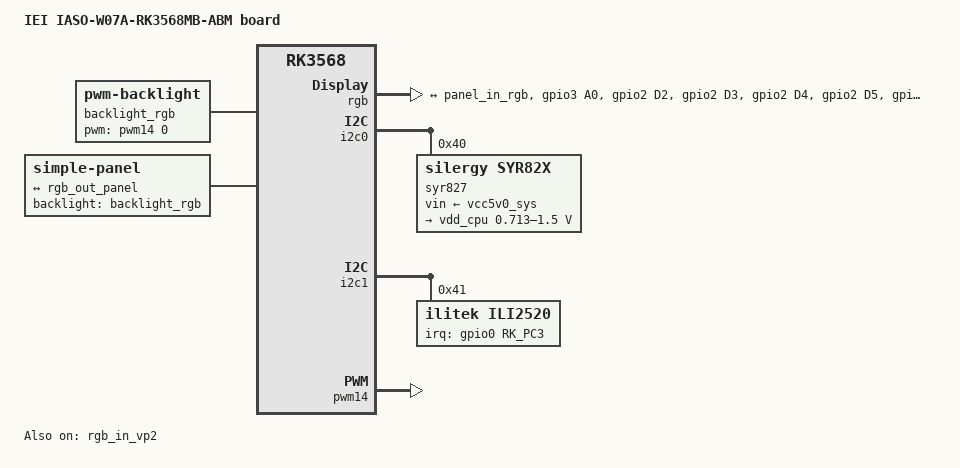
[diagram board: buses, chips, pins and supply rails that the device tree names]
// SPDX-License-Identifier: (GPL-2.0+ OR MIT)
/*
 * Copyright 2024 IEI Integration Corp.
 *
 * Author: CM Wang <cmwang@ieiworld.com>
 *         Wig Cheng <wigcheng@ieiworld.com>
 *         Jason Yang <jasonyang@ieiworld.com>
 *
 * The code contained herein is licensed under the GNU General Public
 * License. You may obtain a copy of the GNU General Public License
 * Version 2 at the following locations:
 *
 * http://www.opensource.org/licenses/gpl-license.html
 * http://www.gnu.org/copyleft/gpl.html
 */

#include "rk3568-evb1-ddr4-v10.dtsi"
#include "rk3568-linux.dtsi"
#include <dt-bindings/display/rockchip_vop.h>
#include <dt-bindings/display/media-bus-format.h>

/ {
	model = "IEI IASO-W07A-RK3568MB-ABM board";
	compatible = "iei,iaso-w07a-rk3568mb-abm", "rockchip,rk3568";

	backlight_rgb: backlight_rgb {
		compatible = "pwm-backlight";
		pwms = <&pwm14 0 20000 0>;
		brightness-levels = <
			0  20  20  21  21  22  22  23
			23  24  24  25  25  26  26  27
			27  28  28  29  29  30  30  31
			31  32  32  33  33  34  34  35
			35  36  36  37  37  38  38  39
			40  41  42  43  44  45  46  47
			48  49  50  51  52  53  54  55
			56  57  58  59  60  61  62  63
			64  65  66  67  68  69  70  71
			72  73  74  75  76  77  78  79
			80  81  82  83  84  85  86  87
			88  89  90  91  92  93  94  95
			96  97  98  99 100 101 102 103
			104 105 106 107 108 109 110 111
			112 113 114 115 116 117 118 119
			120 121 122 123 124 125 126 127
			128 129 130 131 132 133 134 135
			136 137 138 139 140 141 142 143
			144 145 146 147 148 149 150 151
			152 153 154 155 156 157 158 159
			160 161 162 163 164 165 166 167
			168 169 170 171 172 173 174 175
			176 177 178 179 180 181 182 183
			184 185 186 187 188 189 190 191
			192 193 194 195 196 197 198 199
			200 201 202 203 204 205 206 207
			208 209 210 211 212 213 214 215
			216 217 218 219 220 221 222 223
			224 225 226 227 228 229 230 231
			232 233 234 235 236 237 238 239
			240 241 242 243 244 245 246 247
			248 249 250 251 252 253 254 255
		>;
		default-brightness-level = <200>;
	};

	panel: panel {
		compatible = "simple-panel";
		bus-format = <MEDIA_BUS_FMT_RGB666_1X18>;
		backlight = <&backlight_rgb>;
		status = "okay";

		display-timings {
			native-mode = <&cog_t700mhwh01b_timing>;

			cog_t700mhwh01b_timing: timing0 {
				clock-frequency = <33200000>;
				hactive = <800>;
				vactive = <480>;
				hback-porch = <46>;
				hfront-porch = <210>;
				vback-porch = <22>;
				vfront-porch = <23>;
				hsync-len = <1>;
				vsync-len = <1>;
				hsync-active = <0>;
				vsync-active = <0>;
				de-active = <1>;
				pixelclk-active = <0>;
			};
		};

		port {
			panel_in_rgb: endpoint {
				remote-endpoint = <&rgb_out_panel>;
			};
		};
	};
};

&dsi0 {
	status = "disabled";
};

&dsi0_in_vp1 {
	status = "disabled";
};

&dsi0_panel {
	status = "disabled";
};

&dsi1_panel {
	status = "disabled";
};

&edp {
	status = "disabled";
};

&edp_phy {
	status = "disabled";
};

&edp_in_vp0 {
	status = "disabled";
};

&edp_in_vp1 {
	status = "disabled";
};

&rgb {
	status = "okay";
	pinctrl-names = "default";
	pinctrl-0 = <&lcdc_ctl_abm_1>;

	ports {
		rgb_out: port@1 {
			reg = <1>;
			#address-cells = <1>;
			#size-cells = <0>;

			rgb_out_panel: endpoint@0 {
				reg = <0>;
				remote-endpoint = <&panel_in_rgb>;
			};
		};
	};
};

&rgb_in_vp2 {
	status = "okay";
};

&rkisp_vir0 {
	status = "disabled";
};

&route_dsi0 {
	status = "disabled";
};

&route_edp {
	status = "disabled";
};

&pmu_io_domains {
        vccio4-supply = <&vcc_1v8>;
        vccio6-supply = <&vcc_1v8>;
};

&vp0 {
	cursor-win-id = <ROCKCHIP_VOP2_CLUSTER0>;
};

&vp1 {
	cursor-win-id = <ROCKCHIP_VOP2_CLUSTER1>;
};

&vcc5v0_host {
	gpio = <&gpio3 RK_PA0 GPIO_ACTIVE_HIGH>;
};

&vcc5v0_otg {
	gpio = <&gpio0 RK_PA6 GPIO_ACTIVE_HIGH>;
};

&wireless_bluetooth {
	status = "disabled";
};

&i2c0 {
	/delete-node/ tcs4525@1c;
	syr827: syr827@40 {
		compatible = "silergy,syr82x";
		reg = <0x40>;
		status = "okay";
		fcs,suspend-voltage-selector = <1>;
		vin-supply = <&vcc5v0_sys>;
		regulators {
			#address-cells = <1>;
			#size-cells = <0>;
			vdd_cpu: regulator@0 {
				reg = <0>;
				regulator-compatible = "syr82x_dcdc1";
				regulator-name = "vdd_cpu";
				pinctrl-names = "default";
				pinctrl-0 = <&vsel_gpio>;
				vsel-gpios = <&gpio0 2 GPIO_ACTIVE_HIGH>;
				regulator-min-microvolt = <712500>;
				regulator-max-microvolt = <1500000>;
				regulator-always-on;
				regulator-boot-on;
				regulator-initial-mode = <0x2>;
				regulator-initial-state = <3>;
				regulator-state-mem {
					regulator-state-mode = <0x2>;
					regulator-state-disabled;
					regulator-state-uv = <900000>;
				};
			};
		};
	};
};

&i2c1 {
	/delete-node/ gt1x@14;

	ili2520@41 {
		compatible = "ilitek,ili2520";
		reg = <0x41>;

		interrupt-parent = <&gpio0>;
		interrupts = <RK_PC3 IRQ_TYPE_LEVEL_LOW>;
		touchscreen-inverted-y;
		wakeup-source;
	};
};

&i2c4 {
	status = "disabled";
};

&i2c5 {
	status = "disabled";
};

&mdio0 {
	status = "disabled";
};

&mdio1 {
	status = "disabled";
};

&pinctrl{

	lcdc_abm_1 {
		/omit-if-no-ref/
		lcdc_ctl_abm_1: lcdc-ctl_abm_1 {
			rockchip,pins =
			/* lcdc_clk */
			<3 RK_PA0 1 &pcfg_pull_none>,
			/* lcdc_d2 */
			<2 RK_PD2 1 &pcfg_pull_none>,
			/* lcdc_d3 */
			<2 RK_PD3 1 &pcfg_pull_none>,
			/* lcdc_d4 */
			<2 RK_PD4 1 &pcfg_pull_none>,
			/* lcdc_d5 */
			<2 RK_PD5 1 &pcfg_pull_none>,
			/* lcdc_d6 */
			<2 RK_PD6 1 &pcfg_pull_none>,
			/* lcdc_d7 */
			<2 RK_PD7 1 &pcfg_pull_none>,
			/* lcdc_d10 */
			<3 RK_PA3 1 &pcfg_pull_none>,
			/* lcdc_d11 */
			<3 RK_PA4 1 &pcfg_pull_none>,
			/* lcdc_d12 */
			<3 RK_PA5 1 &pcfg_pull_none>,
			/* lcdc_d13 */
			<3 RK_PA6 1 &pcfg_pull_none>,
			/* lcdc_d14 */
			<3 RK_PA7 1 &pcfg_pull_none>,
			/* lcdc_d15 */
			<3 RK_PB0 1 &pcfg_pull_none>,
			/* lcdc_d18 */
			<3 RK_PB3 1 &pcfg_pull_none>,
			/* lcdc_d19 */
			<3 RK_PB4 1 &pcfg_pull_none>,
			/* lcdc_d20 */
			<3 RK_PB5 1 &pcfg_pull_none>,
			/* lcdc_d21 */
			<3 RK_PB6 1 &pcfg_pull_none>,
			/* lcdc_d22 */
			<3 RK_PB7 1 &pcfg_pull_none>,
			/* lcdc_d23 */
			<3 RK_PC0 1 &pcfg_pull_none>,
			/* lcdc_den */
			<3 RK_PC3 1 &pcfg_pull_none>;
		};
	};

	pmic {
		pmic_int_l: pmic-int-l {
		    rockchip,pins = <0 RK_PA3 RK_FUNC_GPIO &pcfg_pull_up>;
		};
		vsel_gpio: vsel-gpio {
		    rockchip,pins = <0 RK_PA2 RK_FUNC_GPIO &pcfg_pull_none>;
		};
	};

	touch_ctl {
		touch_irq: touchh-irq {
			rockchip,pins = <0 RK_PC3 RK_FUNC_GPIO &pcfg_pull_none>;
		};
	};

};

&pwm14 {
	status = "okay";
};

&rknpu {
	status = "disabled";
};

&rknpu_mmu {
	status = "disabled";
};

&bus_npu {
	status = "disabled";
};
